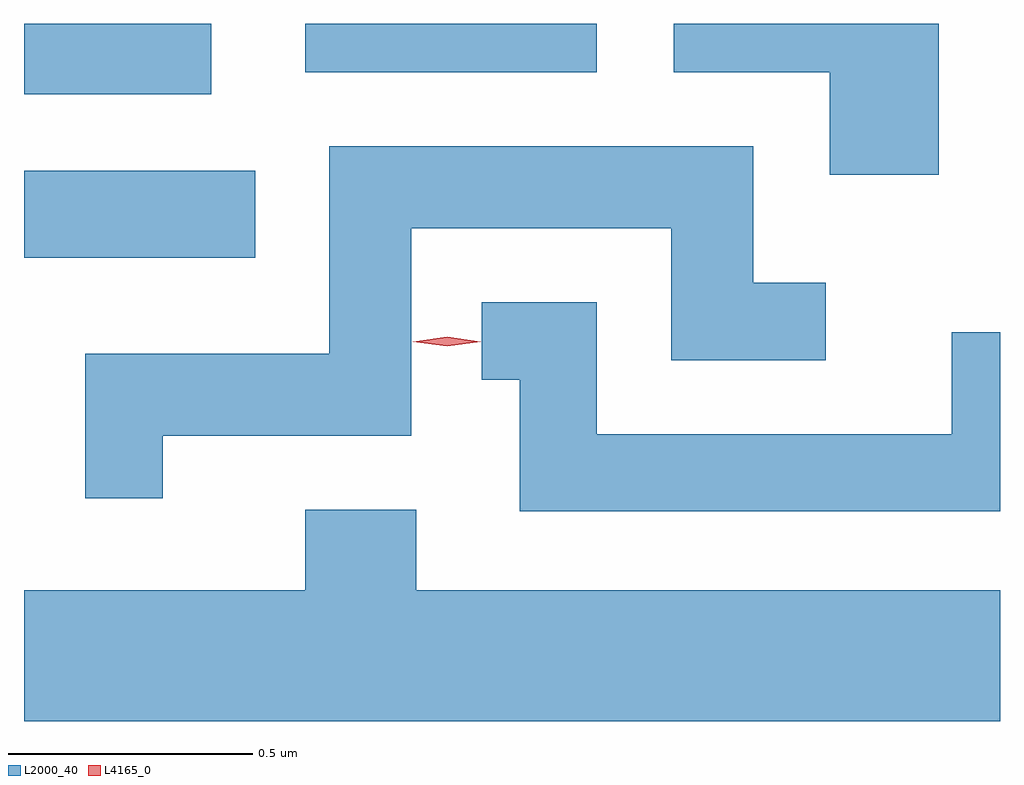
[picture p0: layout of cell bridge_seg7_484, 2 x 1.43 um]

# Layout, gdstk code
import gdstk
lib = gdstk.Library(unit=1e-6, precision=1e-09)
def R(c, l, rs):  # rectangles x0, y0, x1, y1
    for r in rs: c.add(gdstk.rectangle(r[:2], r[2:], *l))
def P(c, l, *ps):  # polygons
    for p in ps: c.add(gdstk.Polygon(p, *l))
L2000_40 = (2000, 40)
L4165_0 = (4165, 0)

bridge_seg7_484 = lib.new_cell('bridge_seg7_484')
R(bridge_seg7_484, L2000_40, [(1095.645,1715.266,1096.119,1715.444), (1095.645,1715.601,1096.029,1715.745), (1096.221,1715.646,1096.819,1715.745)])
P(bridge_seg7_484, L2000_40, [(1097.519,1715.745),(1096.976,1715.745),(1096.976,1715.646),(1097.296,1715.646),(1097.296,1715.436),(1097.519,1715.436)],
  [(1095.929,1714.901),(1096.439,1714.901),(1096.439,1715.326),(1096.971,1715.326),(1096.971,1715.056),(1097.288,1715.056),(1097.288,1715.214),(1097.139,1715.214),(1097.139,1715.494),(1096.271,1715.494),(1096.271,1715.069),(1095.771,1715.069),(1095.771,1714.773),(1095.929,1714.773)],
  [(1097.645,1715.113),(1097.546,1715.113),(1097.546,1714.904),(1096.819,1714.904),(1096.819,1715.174),(1096.583,1715.174),(1096.583,1715.016),(1096.661,1715.016),(1096.661,1714.746),(1097.645,1714.746)],
  [(1097.645,1714.584),(1096.449,1714.584),(1096.449,1714.749),(1096.221,1714.749),(1096.221,1714.584),(1095.645,1714.584),(1095.645,1714.316),(1097.645,1714.316)])
P(bridge_seg7_484, L4165_0, [(1096.512,1715.084),(1096.442,1715.093),(1096.442,1715.094),(1096.442,1715.094),(1096.512,1715.104),(1096.581,1715.094),(1096.581,1715.094),(1096.581,1715.093)])

lib.write_gds('bridge_seg7_484.gds')
